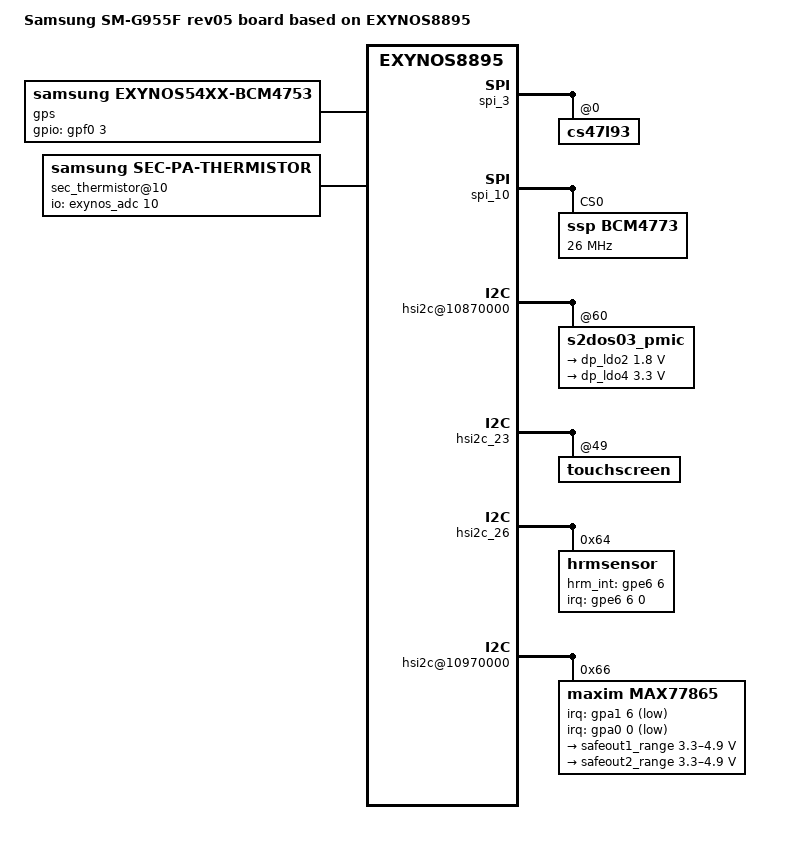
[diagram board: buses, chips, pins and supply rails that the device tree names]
/*
 * SAMSUNG EXYNOS8895 board device tree source
 *
 * Copyright (c) 2016 Samsung Electronics Co., Ltd.
 *		http://www.samsung.com
 *
 * This program is free software; you can redistribute it and/or modify
 * it under the terms of the GNU General Public License version 2 as
 * published by the Free Software Foundation.
*/

/dts-v1/;
#include "exynos8895-dream2lte_common.dtsi"
#include "battery_data_dream2lte_eur_09.dtsi"
#include "exynos8895-dream2lte_motor.dtsi"
#include "exynos8895-dream2lte_svcled.dtsi"
#include "ccic-s2mm005_01.dtsi"
#include "exynos8895-dreamlte_mst_00.dtsi"
#include "exynos8895-dream2lte_gpio_10.dtsi"
#include "exynos8895-dreamlte_fingerprint-sensor_10.dtsi"

/ {
	model = "Samsung SM-G955F rev05 board based on EXYNOS8895";
	model_info-chip = <8895>;
	model_info-platform = "android";
	model_info-subtype = "samsung";
	model_info-hw_rev = <10>;
	model_info-hw_rev_end = <255>;
	compatible = "samsung, SM-G955F rev05", "samsung,EXYNOS8895";

	spi_3: spi@10460000 {
		status = "okay";
		cs47l93: cs47l93@0 {
			cirrus,accdet {
				acc@1 {
					cirrus,hpdet-ext-res = <3300>;
				};
			};
		};
	};

	spi_10: spi@108C0000{
		#address-cells = <1>;
		#size-cells = <0>;
	
		pinctrl-names = "default";
		pinctrl-0 = <&spi1_mosi_sck_ssn &spi1_miso>;

		num-cs = <1>;
		status = "okay";
/*
		dma-mode;
		dmas = <&pdma0 21 0
			&pdma0 20 0>;
*/
		BCM4773@0 {
			compatible = "ssp,BCM4773";
			reg = <0>;
			spi-max-frequency = <26000000>;
			spi-cpol;
			spi-cpha;
			pinctrl-names = "default";
			pinctrl-0 = <&ssp_host_req &ssp_mcu_req &ssp_mcu_resp &ssp_batch_wake_irq &ssp_pwr_en>;
		
			gpio-controller;
			#gpio-cells = <2>;
			ssp-host-req = <&gpa3 4 0x00>;
			ssp-mcu-req = <&gpe6 1 0x00>;
			ssp-mcu-resp = <&gpi1 5 0x00>;
			ssp-batch-wake-irq = <&gpa2 5 0x00>;
			ssp-acc-position = <5>;
			ssp-mag-position = <6>;
			ssp-sns-combination = <0>;
			ssp-ap-rev = <1>;
			ssp-mag-array = /bits/ 8 <124 84 219 252 147 75 0 88 213 55 44 69 99 43 255 195 0 194 78 252 191 254 48 35 8 26 151>;
			ssp-glass-type = <0>;
			ssp-mag-type = <1>;
			ssp-vdd-mcu-1p8 = "vdd_mcu_1p8";
			
			controller-data {
				cs-gpio = <&gpe2 6 0>;
				samsung,spi-feedback-delay = <0>;
			};
		};
	};

	gps {
		compatible = "samsung,exynos54xx-bcm4753";

		pinctrl-names = "hub_en";
		pinctrl-0 = <&ssp_gps_pwr_en>;

		gpios = <&gpf0 3 0x0>;
		status = "okay";
	};

	hsi2c@10870000 {
		status = "okay";
		s2dos03_pmic@60 {
			regulators {
				dp_ldo2: s2dos03-ldo2 {
					regulator-name = "HRM_1.8V_AP";
					regulator-min-microvolt = <1800000>;
					regulator-max-microvolt = <1800000>;
				};
				dp_ldo4: s2dos03-ldo4 {
					regulator-name = "HRM_3.3V_AP";
					regulator-min-microvolt = <3300000>;
					regulator-max-microvolt = <3300000>;
				};
			};
		};
	};

	speedy@15B50000{
		status = "okay";
		s2mps17mfd@00 {
			regulators {
				ldo34_reg: LDO34 {
					regulator-name = "tsp_io";
					regulator-min-microvolt = <1850000>;
					regulator-max-microvolt = <1850000>;
				};
				ldo35_reg: LDO35 {
					regulator-name = "tsp_avdd";
					regulator-min-microvolt = <3300000>;
					regulator-max-microvolt = <3300000>;
				};
				ldo36_reg: LDO36 {
					regulator-name = "VDD_1.8V_ESE";
					regulator-min-microvolt = <1800000>;
					regulator-max-microvolt = <1800000>;
				};
				ldo38_reg: LDO38 {
					regulator-name = "vdd_mcu_1p8";
					regulator-min-microvolt = <1800000>;
					regulator-max-microvolt = <1800000>;
				};
			};
		};
	};

	sec_thermistor@2 {
		status = "disabled";
	};

	sec_thermistor@10 {
		compatible = "samsung,sec-pa-thermistor";
		status = "okay";

		adc_array = <327 347 367 388 410 433 456 482 507 534
			562 591 621 651 684 717 750 786 821 858
			896 935 975 1016 1057 1100 1143 1187 1231 1277
			1323 1369 1416 1463 1511 1559 1608 1657 1706 1755
			1804 1853 1902 1951 2000 2048 2096 2144 2192 2239
			2285 2332 2378 2421 2467 2510 2553 2596 2637 2678
			2719 2758 2797 2833 2872 2906 2942 2976 3011 3042
			3074 3106 3136 3165 3195 3222 3249 3277 3302 3327
			3352 3375 3397 3420 3441 3461 3482 3502 3520 3538
			3557 3573 3591 3607 3620 3636 3650 3666 3680 3691
			3705 3716 3730 3741 3752 3761 3773 3782 3793 3802
			3812>;

		temp_array =
			<(-200) (-190) (-180) (-170) (-160) (-150) (-140) (-130) (-120) (-110)
			(-100) (-90) (-80) (-70) (-60) (-50) (-40) (-30) (-20) (-10)
			0 10 20 30 40 50 60 70 80 90
			100 110 120 130 140 150 160 170 180 190
			200 210 220 230 240 250 260 270 280 290
			300 310 320 330 340 350 360 370 380 390
			400 410 420 430 440 450 460 470 480 490
			500 510 520 530 540 550 560 570 580 590
			600 610 620 630 640 650 660 670 680 690
			700 710 720 730 740 750 760 770 780 790
			800 810 820 830 840 850 860 870 880 890
			900>;

		io-channels = <&exynos_adc 10>;
		io-channel-names = "adc-pa-temp";
		io-channel-ranges;
	};

	hsi2c_23: hsi2c@108E0000 {
		touchscreen@49 {
			status = "okay";
			stm,firmware_name = "tsp_stm/fts8cd56_dream2.fw", "tsp_stm/fts8cd56_dream2.fw";
			stm,afe_base = <0x9D84>;
		};
	};

	hsi2c_26: hsi2c@10910000 {
		status = "okay";
		hrmsensor@64 {
			compatible = "hrmsensor";
			reg = <0x64>;
			interrupt-parent = <&gpe6>;
			interrupts = <6 0 0>;
			hrmsensor,hrm_int-gpio = <&gpe6 6 0>;
			pinctrl-names = "default", "sleep", "idle";
			pinctrl-0 = <&hrm_irq>;
			pinctrl-1 = <&hrm_irqsleep>;
			pinctrl-2 = <&hrm_irqidle>;
			hrmsensor,vdd_1p8 = "HRM_1.8V_AP";
			hrmsensor,led_3p3 = "HRM_3.3V_AP";
			hrmsensor,i2c_1p8 = "VDD_NFC_1P8";
		};
	};

	pinctrl@164B0000 {
		max77865_irq: max77865-irq {
			samsung,pins = "gpa1-6";
			samsung,pin-function = <0xf>;
			samsung,pin-pud = <0>; 
			samsung,pin-drv = <0>; 
		};

		muic_irq: muic-irq {
			samsung,pins = "gpa0-0";
			samsung,pin-pud = <0>; 
			samsung,pin-drv = <0>; 
		};
	};

	hsi2c@10970000 {
		status = "okay";

		max77865@66 {
			compatible = "maxim,max77865";
			pinctrl-names = "default";
			pinctrl-0 = <&max77865_irq &muic_irq &pwm_tout1>;
			reg = <0x66>;
			max77865,irq-gpio = <&gpa1 6 1>;
			muic-universal,irq-gpio = <&gpa0 0 1>;
			muic-universal,chip_name = "max,max77865";
			max77865,wakeup;
			muic,undefined_range;

			regulators {
				ESAFEOUT1 {
					regulator-compatible = "safeout1";
					regulator-name = "safeout1_range";
					regulator-min-microvolt = <3300000>;
					regulator-max-microvolt = <4900000>;
					regulator-boot-on;
				};

				ESAFEOUT2 {
					regulator-compatible = "safeout2";
					regulator-name = "safeout2_range";
					regulator-min-microvolt = <3300000>;
					regulator-max-microvolt = <4900000>;
				};
			};
		};
	};

	pinctrl@164B0000 {
		dp_irq: dp_irq {
			samsung,pins = "gpa3-1";
			samsung,pin-function = <3>;
			samsung,pin-pud = <0>;
		};
	};

	speedy@15B50000{
		status = "okay";
		s2mps17mfd@00 {
			regulators {
				ldo6_reg: LDO6 {
					regulator-name = "vdd_ldo6";
					regulator-min-microvolt = <3100000>;
					regulator-max-microvolt = <3100000>;
					regulator-ramp-delay = <12000>;
				};
				ldo37_reg: LDO37 {
						regulator-name = "VDD_DP_1P8";
						regulator-min-microvolt = <1800000>;
						regulator-max-microvolt = <1800000>;
					};
			};
		};
	};

	displayport: displayport@0x11090000 {
		dp,aux_sw_oe = <&gpi1 3 0>;
		dp,sbu_sw_sel = <&gpe7 5 0>;
		dp,usb_con_sel = <&gpi1 7 0>;
		/*dp,aux_vdd = "VDD_DP_1P8";*/
		dp,hpd_gpio_irq;

		pinctrl-names = "default";
		pinctrl-0 = <&dp_irq>;
	};

	panel_0: panel_drv@001 {
		gpio,lcd-reset = <&gpa0 5 0x1>;
	};
};
